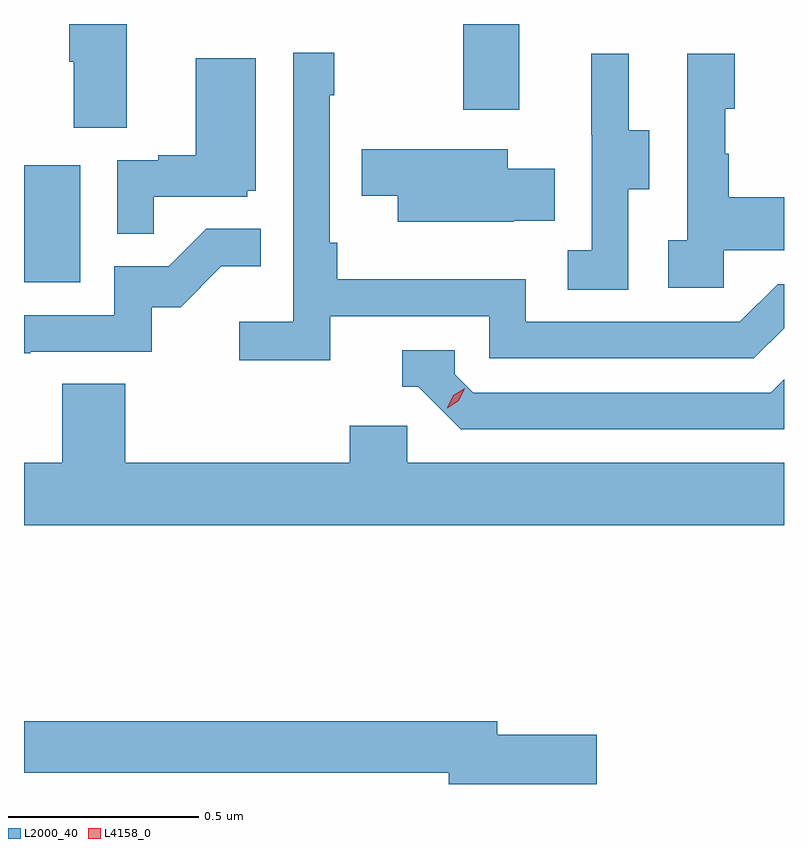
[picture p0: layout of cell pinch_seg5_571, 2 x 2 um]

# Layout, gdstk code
import gdstk
lib = gdstk.Library(unit=1e-6, precision=1e-09)
def R(c, l, rs):  # rectangles x0, y0, x1, y1
    for r in rs: c.add(gdstk.rectangle(r[:2], r[2:], *l))
def P(c, l, *ps):  # polygons
    for p in ps: c.add(gdstk.Polygon(p, *l))
L2000_40 = (2000, 40)
L4158_0 = (4158, 0)

pinch_seg5_571 = lib.new_cell('pinch_seg5_571')
R(pinch_seg5_571, L2000_40, [(964.314,845.412,964.462,845.719), (965.47,845.865,965.617,846.091)])
P(pinch_seg5_571, L2000_40, [(964.585,846.091),(964.433,846.091),(964.433,845.992),(964.445,845.992),(964.445,845.818),(964.585,845.818)],
  [(965.12,845.322),(965.538,845.322),(965.538,845.211),(966.235,845.211),(966.314,845.29),(966.314,845.406),(966.297,845.406),(966.198,845.307),(965.634,845.307),(965.634,845.419),(965.138,845.419),(965.138,845.515),(965.118,845.515),(965.118,845.903),(965.131,845.903),(965.131,846.016),(965.022,846.016),(965.022,845.308),(964.881,845.308),(964.881,845.206),(965.12,845.206)],
  [(965.904,845.656),(965.959,845.656),(965.959,845.811),(965.905,845.811),(965.905,846.013),(965.807,846.013),(965.807,845.799),(965.808,845.799),(965.808,845.495),(965.745,845.495),(965.745,845.392),(965.904,845.392)],
  [(966.156,845.495),(966.314,845.495),(966.314,845.635),(966.169,845.635),(966.169,845.75),(966.159,845.75),(966.159,845.868),(966.184,845.868),(966.184,846.013),(966.06,846.013),(966.06,845.522),(966.009,845.522),(966.009,845.397),(966.156,845.397)],
  [(964.655,845.637),(964.902,845.637),(964.902,845.652),(964.924,845.652),(964.924,846.001),(964.766,846.001),(964.766,845.746),(964.667,845.746),(964.667,845.733),(964.56,845.733),(964.56,845.539),(964.655,845.539)],
  [(965.603,845.573),(965.711,845.573),(965.711,845.71),(965.587,845.71),(965.587,845.761),(965.203,845.761),(965.203,845.639),(965.297,845.639),(965.297,845.57),(965.603,845.57)],
  [(964.331,845.229),(964.65,845.229),(964.65,845.346),(964.726,845.346),(964.833,845.453),(964.937,845.453),(964.937,845.552),(964.793,845.552),(964.695,845.454),(964.551,845.454),(964.551,845.325),(964.314,845.325),(964.314,845.224),(964.331,845.224)],
  [(966.314,845.156),(966.279,845.121),(965.496,845.121),(965.448,845.169),(965.448,845.232),(965.309,845.232),(965.309,845.136),(965.352,845.136),(965.463,845.025),(966.314,845.025)],
  [(966.314,844.936),(965.322,844.936),(965.322,845.034),(965.171,845.034),(965.171,844.936),(964.58,844.936),(964.58,845.144),(964.415,845.144),(964.415,844.936),(964.314,844.936),(964.314,844.772),(966.314,844.772)],
  [(965.821,844.22),(965.56,844.22),(965.56,844.256),(964.314,844.256),(964.314,844.12),(965.432,844.12),(965.432,844.091),(965.821,844.091)])
P(pinch_seg5_571, L4158_0, [(965.428,845.08),(965.428,845.081),(965.443,845.114),(965.474,845.133),(965.474,845.133),(965.474,845.133),(965.458,845.1),(965.428,845.08)])

lib.write_gds('pinch_seg5_571.gds')
